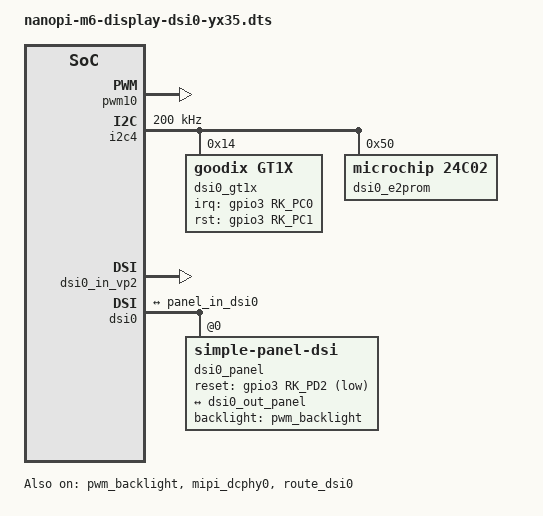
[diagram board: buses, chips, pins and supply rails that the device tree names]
/dts-v1/;
/plugin/;

#include <dt-bindings/interrupt-controller/irq.h>
#include <dt-bindings/gpio/gpio.h>
#include <dt-bindings/pinctrl/rockchip.h>
#include <dt-bindings/display/drm_mipi_dsi.h>

/ {
	fragment@0 {
		target = <&pwm_backlight>;

		__overlay__ {
			brightness-levels = <
        		  0  20  20  21  21  22  22  23
        		 23  24  24  25  25  26  26  27
        		 27  28  28  29  29  30  30  31
        		 31  32  32  33  33  34  34  35
        		 35  36  36  37  37  38  38  39
        		 40  41  42  43  44  45  46  47
        		 48  49  50  51  52  53  54  55
        		 56  57  58  59  60  61  62  63
        		 64  65  66  67  68  69  70  71
        		 72  73  74  75  76  77  78  79
        		 80  81  82  83  84  85  86  87
        		 88  89  90  91  92  93  94  95
        		 96  97  98  99 100 101 102 103
        		104 105 106 107 108 109 110 111
        		112 113 114 115 116 117 118 119
        		120 121 122 123 124 125 126 127
        		128 129 130 131 132 133 134 135
        		136 137 138 139 140 141 142 143
        		144 145 146 147 148 149 150 151
        		152 153 154 155 156 157 158 159
        		160 161 162 163 164 165 166 167
        		168 169 170 171 172 173 174 175
        		176 177 178 179 180 181 182 183
        		184 185 186 187 188 189 190 191
        		192 193 194 195 196 197 198 199
        		200 201 202 203 204 205 206 207
        		208 209 210 211 212 213 214 215
        		216 217 218 219 220 221 222 223
        		224 225 226 227 228 229 230 231
        		232 233 234 235 236 237 238 239
        		240 241 242 243 244 245 246 247
        		248 249 250 251 252 253 254 255
        	>;
        	default-brightness-level = <200>;
        	pwms = <&pwm10 0 25000 0>;
            status = "okay";
		};	
	};

	fragment@1 {
		target = <&pwm10>;

		__overlay__ {
			pinctrl-0 = <&pwm10m2_pins>;
			status = "okay";
		};
	};

	fragment@2 {
		target = <&mipi_dcphy0>;

		__overlay__ {
			status = "okay";
		};
	};

	fragment@3 {
		target = <&i2c4>;

		__overlay__ {
			clock-frequency = <200000>;
        	pinctrl-0 = <&i2c4m3_xfer>;
        	status = "okay";
        
        	dsi0_gt1x: gt1x@14 {
        		compatible = "goodix,gt1x";
        		reg = <0x14>;
        		pinctrl-names = "default";
				pinctrl-0 = <&touch_dsi0_gpio>;
				interrupt-parent = <&gpio3>;
				interrupts = <RK_PC0 IRQ_TYPE_EDGE_FALLING>;
				goodix,irq-gpio = <&gpio3 RK_PC0 IRQ_TYPE_EDGE_FALLING>;
				goodix,rst-gpio = <&gpio3 RK_PC1 GPIO_ACTIVE_HIGH>;
        		keep-otp-config;
        		status = "okay";
        	};
        
        	dsi0_e2prom: eeprom@50 {
        		compatible = "microchip,24c02", "atmel,24c02";
        		reg = <0x50>;
        		#address-cells = <2>;
        		#size-cells = <0>;
        		pagesize = <16>;
        		size = <256>;
        		status = "okay";
        	};
		};
	};


	fragment@4 {
		target = <&route_dsi0>;

		__overlay__ {
			connect = <&vp2_out_dsi0>;
			status = "okay";
		};
	};

	fragment@5 {
		target = <&dsi0_in_vp2>;

		__overlay__ {
			status = "okay";
		};
	};

	fragment@6 {
		target = <&dsi0>;

		__overlay__ {
			status = "okay";
        	dsi0_panel: panel@0 {
        		compatible = "simple-panel-dsi";
        		reg = <0>;
        
        		backlight = <&pwm_backlight>;
        		pinctrl-names = "default";
        		pinctrl-0 = <&lcd_rst0_gpio>;
        		reset-gpios = <&gpio3 RK_PD2 GPIO_ACTIVE_LOW>;
        		panel-name = "yx35,210dpi";
        		nvmems = <&dsi0_i2c 0x50 0xe0 0x10>;
        		nvmem-status = <1>;
        
        		reset-delay-ms = <20>;
        		init-delay-ms = <120>;
        		enable-delay-ms = <5>;
        		prepare-delay-ms = <0>;
        		unprepare-delay-ms = <10>;
        		disable-delay-ms = <5>;
        		width-mm = <45>;
        		height-mm = <75>;
        
        		dsi,flags = <(MIPI_DSI_MODE_VIDEO | MIPI_DSI_MODE_VIDEO_BURST |
        			      MIPI_DSI_MODE_LPM | MIPI_DSI_CLOCK_NON_CONTINUOUS)>;
        		dsi,format = <MIPI_DSI_FMT_RGB888>;
        		dsi,lanes  = <2>;
        		panel-init-sequence = [
        			15 0A 02 01 00
        			15 7D 02 11 00
        			39 00 06 FF 77 01 00 00 13
        			15 00 02 EF 08
        			39 00 06 FF 77 01 00 00 10
        			39 00 03 C0 63 00
        			39 00 03 C1 14 14
        			39 00 03 C2 37 02
        			15 00 02 CC 10
        			39 00 11 B0 C5 11 1B 0D 11 07 0A 09 08 24 05 12 10 A9 32 DF
        			39 00 11 B1 C5 19 21 0B 0E 03 0C 07 07 26 04 12 11 AA 32 DF
        			39 00 06 FF 77 01 00 00 11
        			15 00 02 B0 4D
        			15 00 02 B1 59
        			15 00 02 B2 81
        			15 00 02 B3 80
        			15 00 02 B5 4E
        			15 00 02 B7 85
        			15 00 02 B8 32
        			15 00 02 BB 03
        			15 00 02 C1 08
        			15 00 02 C2 08
        			15 00 02 D0 88
        			39 00 04 E0 00 00 02
        			39 00 0C E1 06 28 08 28 05 28 07 28 0E 33 33
        			39 00 0D E2 30 30 33 33 34 00 00 00 34 00 00 00
        			39 00 05 E3 00 00 33 33
        			39 00 03 E4 44 44
        			39 00 11 E5 09 2F 2C 8C 0B 31 2C 8C 0D 33 2C 8C 0F 35 2C 8C
        			39 00 05 E6 00 00 33 33
        			39 00 03 E7 44 44
        			39 00 11 E8 08 2E 2C 8C 0A 30 2C 8C 0C 32 2C 8C 0E 34 2C 8C
        			39 00 03 E9 36 00
        			39 00 08 EB 00 01 E4 E4 44 88 40
        			39 00 11 ED FF FC B2 45 67 FA 01 FF FF 10 AF 76 54 2B CF FF
        			39 00 07 EF 08 08 08 45 3F 54
        			39 00 06 FF 77 01 00 00 13
        			39 00 03 E8 00 0E
        			15 78 02 11 00
        			39 0A 03 E8 00 0C
        			39 00 03 E8 00 00
        			39 00 06 FF 77 01 00 00 00
        			15 00 02 36 00
        			15 00 02 29 00
        		];
        
        		panel-exit-sequence = [
        			15 00 02 28 00
        			15 3C 02 10 00
        		];
        
        		disp_timings0: display-timings {
        			native-mode = <&dsi_timing0>;
        			dsi_timing0: timing0 {
        				clock-frequency = <29700000>;
        				hactive = <480>;
        				vactive = <800>;
        				hfront-porch = <40>;
        				hsync-len = <32>;
        				hback-porch = <30>;
        				vfront-porch = <20>;
        				vsync-len = <10>;
        				vback-porch = <20>;
        				hsync-active = <0>;
        				vsync-active = <0>;
        				de-active = <0>;
        				pixelclk-active = <0>;
        			};
        		};
        
        		ports {
        			#address-cells = <1>;
        			#size-cells = <0>;
        
        			port@0 {
        				reg = <0>;
        				panel_in_dsi0: endpoint {
        					remote-endpoint = <&dsi0_out_panel>;
        				};
        			};
        		};
        	};
        
        	ports {
        		#address-cells = <1>;
        		#size-cells = <0>;
        
        		port@1 {
        			reg = <1>;
        			dsi0_out_panel: endpoint {
        				remote-endpoint = <&panel_in_dsi0>;
        			};
        		};
        	};
		};
	};
};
